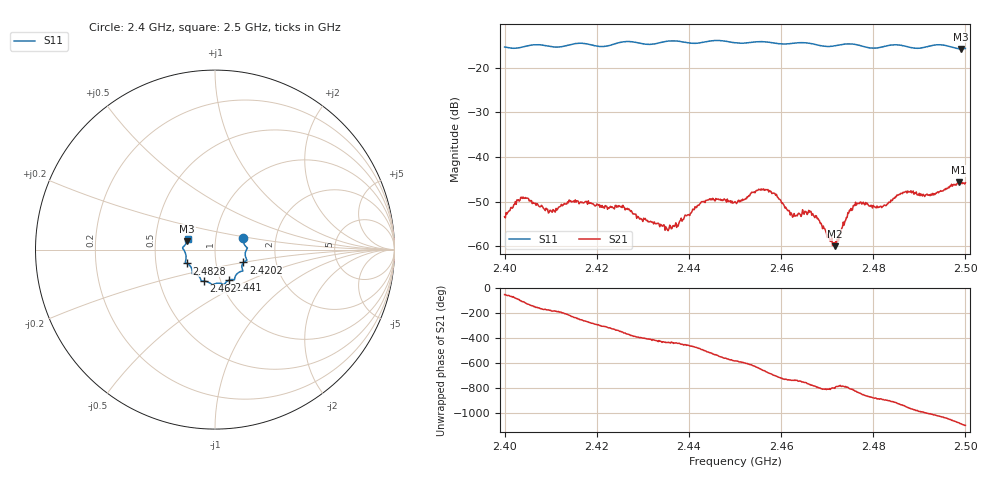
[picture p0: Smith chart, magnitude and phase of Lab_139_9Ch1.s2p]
# Hz S RI R 50
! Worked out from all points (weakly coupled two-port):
!   601 points, 2.4 GHz to 2.5 GHz, reference 50 ohm
!   highest |S21| = -45.62 dB at 2.4987 GHz (marker M1); lowest = -59.9 dB at 2.4717 GHz (marker M2)
!   lowest |S11| = -15.8 dB at 2.499 GHz (marker M3), VSWR 1.39, Z = 36.4 + j3.48 ohm
!   |S11| at or under -10 dB: start of sweep to end of sweep
!   S12 and S22 are empty: the file has one direction only
!   S11 on the Smith chart (normalised r, x): 2.4 GHz: 1.36, +0.18; 2.4202 GHz: 1.36, -0.20; 2.441 GHz: 1.10, -0.39; 2.462 GHz: 0.84, -0.30; 2.4828 GHz: 0.72, -0.11; 2.5 GHz: 0.73, +0.09
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2.4e9  0.1583 0.0627  0.0013 -0.00171  0 0  0 0
2.404e9  0.1696 0.02  -0.00121 -0.00337  0 0  0 0
2.409833e9  0.1728 -0.00501  -0.00253 -1.47e-06  0 0  0 0
2.416667e9  0.1775 -0.0606  -0.000787 0.00299  0 0  0 0
2.420167e9  0.1585 -0.0713  0.00131 0.00261  0 0  0 0
2.425333e9  0.1549 -0.1149  0.00278 0.000399  0 0  0 0
2.433333e9  0.1119 -0.151  0.000596 -0.00172  0 0  0 0
2.435833e9  0.1095 -0.1662  0.000357 -0.00169  0 0  0 0
2.441e9  0.0787 -0.1698  -0.000899 -0.00241  0 0  0 0
2.444667e9  0.0533 -0.1916  -0.00312 -0.00115  0 0  0 0
2.45e9  0.0284 -0.1878  -0.00224 0.00225  0 0  0 0
2.456667e9  -0.0187 -0.1937  0.00284 0.00321  0 0  0 0
2.462e9  -0.0603 -0.1757  0.00213 -0.000706  0 0  0 0
2.466667e9  -0.0788 -0.168  0.00116 -0.00191  0 0  0 0
2.471667e9  -0.1103 -0.1365  6.88e-05 -0.001  0 0  0 0
2.476167e9  -0.1272 -0.1299  -0.000987 -0.00296  0 0  0 0
2.482833e9  -0.1573 -0.0769  -0.00287 5.81e-05  0 0  0 0
2.483333e9  -0.1605 -0.0754  -0.0031 0.00029  0 0  0 0
2.486667e9  -0.1636 -0.0626  -0.0029 0.00278  0 0  0 0
2.498667e9  -0.157 0.0421  0.00522 -0.000349  0 0  0 0
2.499e9  -0.1554 0.0466  0.00495 -0.000853  0 0  0 0
2.5e9  -0.1522 0.0608  0.00471 -0.00208  0 0  0 0
